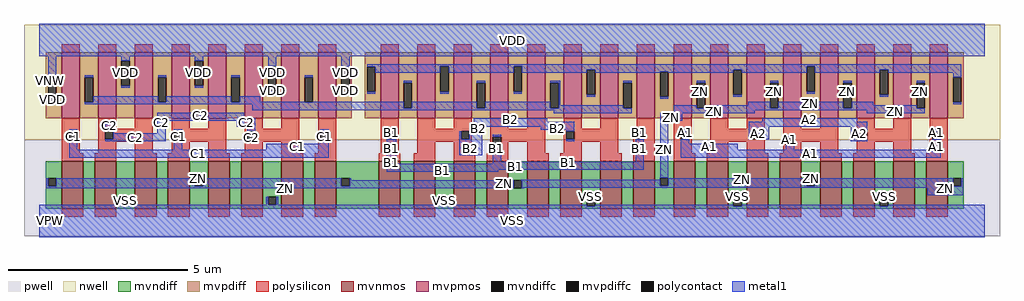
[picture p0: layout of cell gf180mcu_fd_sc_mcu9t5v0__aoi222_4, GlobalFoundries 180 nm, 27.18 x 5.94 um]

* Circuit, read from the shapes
.subckt gf180mcu_fd_sc_mcu9t5v0__aoi222_4 A1 A2 B1 B2 C1 C2 ZN VDD VNW VPW VSS
XM1 n1 C1 ZN VPW nfet_06v0 w=1.32u l=0.6u
XM2 VSS C2 n1 VPW nfet_06v0 w=1.32u l=0.6u
XM3 n2 C2 VSS VPW nfet_06v0 w=1.32u l=0.6u
XM4 ZN C1 n2 VPW nfet_06v0 w=1.32u l=0.6u
XM5 n3 C1 ZN VPW nfet_06v0 w=1.32u l=0.6u
XM6 VSS C2 n3 VPW nfet_06v0 w=1.32u l=0.6u
XM7 n4 C2 VSS VPW nfet_06v0 w=1.32u l=0.6u
XM8 ZN C1 n4 VPW nfet_06v0 w=1.32u l=0.6u
XM9 n5 B1 ZN VPW nfet_06v0 w=1.32u l=0.6u
XM10 VSS B2 n5 VPW nfet_06v0 w=1.32u l=0.6u
XM11 n6 B2 VSS VPW nfet_06v0 w=1.32u l=0.6u
XM12 ZN B1 n6 VPW nfet_06v0 w=1.32u l=0.6u
XM13 n7 B1 ZN VPW nfet_06v0 w=1.32u l=0.6u
XM14 VSS B2 n7 VPW nfet_06v0 w=1.32u l=0.6u
XM15 n8 B2 VSS VPW nfet_06v0 w=1.32u l=0.6u
XM16 ZN B1 n8 VPW nfet_06v0 w=1.32u l=0.6u
XM17 n9 A1 ZN VPW nfet_06v0 w=1.32u l=0.6u
XM18 VSS A2 n9 VPW nfet_06v0 w=1.32u l=0.6u
XM19 n10 A2 VSS VPW nfet_06v0 w=1.32u l=0.6u
XM20 ZN A1 n10 VPW nfet_06v0 w=1.32u l=0.6u
XM21 n11 A1 ZN VPW nfet_06v0 w=1.32u l=0.6u
XM22 VSS A2 n11 VPW nfet_06v0 w=1.32u l=0.6u
XM23 n12 A2 VSS VPW nfet_06v0 w=1.32u l=0.6u
XM24 ZN A1 n12 VPW nfet_06v0 w=1.32u l=0.6u
XM25 n13 C1 VDD VNW pfet_06v0 w=1.83u l=0.5u m=4
XM26 VDD C2 n13 VNW pfet_06v0 w=1.83u l=0.5u m=4
XM27 n13 B1 n14 VNW pfet_06v0 w=1.83u l=0.5u m=4
XM28 n14 B2 n13 VNW pfet_06v0 w=1.83u l=0.5u m=4
XM29 ZN A1 n14 VNW pfet_06v0 w=1.83u l=0.5u m=4
XM30 n14 A2 ZN VNW pfet_06v0 w=1.83u l=0.5u m=4
.ends

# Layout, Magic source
magic
tech gf180mcuD
magscale 1 10
<< nwell >>
rect -86 453 5350 1094
<< pwell >>
rect -86 -86 5350 453
<< mvnmos >>
rect 124 69 244 333
rect 308 69 428 333
rect 532 69 652 333
rect 716 69 836 333
rect 940 69 1060 333
rect 1124 69 1244 333
rect 1348 69 1468 333
rect 1532 69 1652 333
rect 1890 69 2010 333
rect 2084 69 2204 333
rect 2308 69 2428 333
rect 2492 69 2612 333
rect 2716 69 2836 333
rect 2900 69 3020 333
rect 3124 69 3244 333
rect 3308 69 3428 333
rect 3532 69 3652 333
rect 3716 69 3836 333
rect 3940 69 4060 333
rect 4124 69 4244 333
rect 4348 69 4468 333
rect 4532 69 4652 333
rect 4756 69 4876 333
rect 4940 69 5060 333
<< mvpmos >>
rect 124 573 224 939
rect 328 573 428 939
rect 532 573 632 939
rect 736 573 836 939
rect 940 573 1040 939
rect 1144 573 1244 939
rect 1348 573 1448 939
rect 1552 573 1652 939
rect 1900 573 2000 939
rect 2104 573 2204 939
rect 2308 573 2408 939
rect 2512 573 2612 939
rect 2716 573 2816 939
rect 2920 573 3020 939
rect 3124 573 3224 939
rect 3328 573 3428 939
rect 3532 573 3632 939
rect 3736 573 3836 939
rect 3940 573 4040 939
rect 4144 573 4244 939
rect 4348 573 4448 939
rect 4552 573 4652 939
rect 4756 573 4856 939
rect 4960 573 5060 939
<< mvndiff >>
rect 36 239 124 333
rect 36 193 49 239
rect 95 193 124 239
rect 36 69 124 193
rect 244 69 308 333
rect 428 136 532 333
rect 428 90 457 136
rect 503 90 532 136
rect 428 69 532 90
rect 652 69 716 333
rect 836 239 940 333
rect 836 193 865 239
rect 911 193 940 239
rect 836 69 940 193
rect 1060 69 1124 333
rect 1244 136 1348 333
rect 1244 90 1273 136
rect 1319 90 1348 136
rect 1244 69 1348 90
rect 1468 69 1532 333
rect 1652 239 1890 333
rect 1652 193 1681 239
rect 1727 193 1890 239
rect 1652 69 1890 193
rect 2010 69 2084 333
rect 2204 136 2308 333
rect 2204 90 2233 136
rect 2279 90 2308 136
rect 2204 69 2308 90
rect 2428 69 2492 333
rect 2612 228 2716 333
rect 2612 182 2641 228
rect 2687 182 2716 228
rect 2612 69 2716 182
rect 2836 69 2900 333
rect 3020 128 3124 333
rect 3020 82 3049 128
rect 3095 82 3124 128
rect 3020 69 3124 82
rect 3244 69 3308 333
rect 3428 242 3532 333
rect 3428 196 3457 242
rect 3503 196 3532 242
rect 3428 69 3532 196
rect 3652 69 3716 333
rect 3836 128 3940 333
rect 3836 82 3865 128
rect 3911 82 3940 128
rect 3836 69 3940 82
rect 4060 69 4124 333
rect 4244 239 4348 333
rect 4244 193 4273 239
rect 4319 193 4348 239
rect 4244 69 4348 193
rect 4468 69 4532 333
rect 4652 128 4756 333
rect 4652 82 4681 128
rect 4727 82 4756 128
rect 4652 69 4756 82
rect 4876 69 4940 333
rect 5060 239 5148 333
rect 5060 193 5089 239
rect 5135 193 5148 239
rect 5060 69 5148 193
<< mvpdiff >>
rect 36 800 124 939
rect 36 660 49 800
rect 95 660 124 800
rect 36 573 124 660
rect 224 800 328 939
rect 224 660 253 800
rect 299 660 328 800
rect 224 573 328 660
rect 428 892 532 939
rect 428 752 457 892
rect 503 752 532 892
rect 428 573 532 752
rect 632 800 736 939
rect 632 660 661 800
rect 707 660 736 800
rect 632 573 736 660
rect 836 892 940 939
rect 836 752 865 892
rect 911 752 940 892
rect 836 573 940 752
rect 1040 800 1144 939
rect 1040 660 1069 800
rect 1115 660 1144 800
rect 1040 573 1144 660
rect 1244 863 1348 939
rect 1244 723 1273 863
rect 1319 723 1348 863
rect 1244 573 1348 723
rect 1448 800 1552 939
rect 1448 660 1477 800
rect 1523 660 1552 800
rect 1448 573 1552 660
rect 1652 860 1740 939
rect 1652 720 1681 860
rect 1727 720 1740 860
rect 1652 573 1740 720
rect 1812 860 1900 939
rect 1812 720 1825 860
rect 1871 720 1900 860
rect 1812 573 1900 720
rect 2000 769 2104 939
rect 2000 629 2029 769
rect 2075 629 2104 769
rect 2000 573 2104 629
rect 2204 861 2308 939
rect 2204 721 2233 861
rect 2279 721 2308 861
rect 2204 573 2308 721
rect 2408 769 2512 939
rect 2408 629 2437 769
rect 2483 629 2512 769
rect 2408 573 2512 629
rect 2612 861 2716 939
rect 2612 721 2641 861
rect 2687 721 2716 861
rect 2612 573 2716 721
rect 2816 769 2920 939
rect 2816 629 2845 769
rect 2891 629 2920 769
rect 2816 573 2920 629
rect 3020 843 3124 939
rect 3020 703 3049 843
rect 3095 703 3124 843
rect 3020 573 3124 703
rect 3224 769 3328 939
rect 3224 629 3253 769
rect 3299 629 3328 769
rect 3224 573 3328 629
rect 3428 832 3532 939
rect 3428 692 3457 832
rect 3503 692 3532 832
rect 3428 573 3532 692
rect 3632 769 3736 939
rect 3632 629 3661 769
rect 3707 629 3736 769
rect 3632 573 3736 629
rect 3836 843 3940 939
rect 3836 703 3865 843
rect 3911 703 3940 843
rect 3836 573 3940 703
rect 4040 769 4144 939
rect 4040 629 4069 769
rect 4115 629 4144 769
rect 4040 573 4144 629
rect 4244 861 4348 939
rect 4244 721 4273 861
rect 4319 721 4348 861
rect 4244 573 4348 721
rect 4448 769 4552 939
rect 4448 629 4477 769
rect 4523 629 4552 769
rect 4448 573 4552 629
rect 4652 843 4756 939
rect 4652 703 4681 843
rect 4727 703 4756 843
rect 4652 573 4756 703
rect 4856 769 4960 939
rect 4856 629 4885 769
rect 4931 629 4960 769
rect 4856 573 4960 629
rect 5060 800 5148 939
rect 5060 660 5089 800
rect 5135 660 5148 800
rect 5060 573 5148 660
<< mvndiffc >>
rect 49 193 95 239
rect 457 90 503 136
rect 865 193 911 239
rect 1273 90 1319 136
rect 1681 193 1727 239
rect 2233 90 2279 136
rect 2641 182 2687 228
rect 3049 82 3095 128
rect 3457 196 3503 242
rect 3865 82 3911 128
rect 4273 193 4319 239
rect 4681 82 4727 128
rect 5089 193 5135 239
<< mvpdiffc >>
rect 49 660 95 800
rect 253 660 299 800
rect 457 752 503 892
rect 661 660 707 800
rect 865 752 911 892
rect 1069 660 1115 800
rect 1273 723 1319 863
rect 1477 660 1523 800
rect 1681 720 1727 860
rect 1825 720 1871 860
rect 2029 629 2075 769
rect 2233 721 2279 861
rect 2437 629 2483 769
rect 2641 721 2687 861
rect 2845 629 2891 769
rect 3049 703 3095 843
rect 3253 629 3299 769
rect 3457 692 3503 832
rect 3661 629 3707 769
rect 3865 703 3911 843
rect 4069 629 4115 769
rect 4273 721 4319 861
rect 4477 629 4523 769
rect 4681 703 4727 843
rect 4885 629 4931 769
rect 5089 660 5135 800
<< polysilicon >>
rect 124 939 224 983
rect 328 939 428 983
rect 532 939 632 983
rect 736 939 836 983
rect 940 939 1040 983
rect 1144 939 1244 983
rect 1348 939 1448 983
rect 1552 939 1652 983
rect 1900 939 2000 983
rect 2104 939 2204 983
rect 2308 939 2408 983
rect 2512 939 2612 983
rect 2716 939 2816 983
rect 2920 939 3020 983
rect 3124 939 3224 983
rect 3328 939 3428 983
rect 3532 939 3632 983
rect 3736 939 3836 983
rect 3940 939 4040 983
rect 4144 939 4244 983
rect 4348 939 4448 983
rect 4552 939 4652 983
rect 4756 939 4856 983
rect 4960 939 5060 983
rect 124 500 224 573
rect 124 454 165 500
rect 211 454 224 500
rect 124 377 224 454
rect 328 513 428 573
rect 532 513 632 573
rect 328 500 632 513
rect 328 454 366 500
rect 412 454 632 500
rect 328 441 632 454
rect 328 377 428 441
rect 124 333 244 377
rect 308 333 428 377
rect 532 377 632 441
rect 736 513 836 573
rect 940 513 1040 573
rect 736 500 1040 513
rect 736 454 749 500
rect 795 454 1040 500
rect 736 441 1040 454
rect 736 377 836 441
rect 532 333 652 377
rect 716 333 836 377
rect 940 377 1040 441
rect 1144 513 1244 573
rect 1348 513 1448 573
rect 1144 500 1448 513
rect 1144 454 1157 500
rect 1203 454 1448 500
rect 1144 441 1448 454
rect 1144 377 1244 441
rect 940 333 1060 377
rect 1124 333 1244 377
rect 1348 377 1448 441
rect 1552 500 1652 573
rect 1552 454 1565 500
rect 1611 454 1652 500
rect 1552 377 1652 454
rect 1900 500 2000 573
rect 1900 454 1940 500
rect 1986 454 2000 500
rect 1900 377 2000 454
rect 2104 513 2204 573
rect 2308 513 2408 573
rect 2104 500 2408 513
rect 2104 454 2349 500
rect 2395 454 2408 500
rect 2104 441 2408 454
rect 2104 377 2204 441
rect 1348 333 1468 377
rect 1532 333 1652 377
rect 1890 333 2010 377
rect 2084 333 2204 377
rect 2308 377 2408 441
rect 2512 513 2612 573
rect 2716 513 2816 573
rect 2512 469 2816 513
rect 2512 423 2525 469
rect 2571 441 2816 469
rect 2571 423 2612 441
rect 2512 377 2612 423
rect 2308 333 2428 377
rect 2492 333 2612 377
rect 2716 377 2816 441
rect 2920 513 3020 573
rect 3124 513 3224 573
rect 3328 513 3428 573
rect 2920 500 3224 513
rect 2920 454 2933 500
rect 2979 454 3224 500
rect 2920 441 3224 454
rect 2920 377 3020 441
rect 2716 333 2836 377
rect 2900 333 3020 377
rect 3124 377 3224 441
rect 3308 500 3428 513
rect 3308 454 3321 500
rect 3367 454 3428 500
rect 3124 333 3244 377
rect 3308 333 3428 454
rect 3532 500 3632 573
rect 3532 454 3573 500
rect 3619 454 3632 500
rect 3532 377 3632 454
rect 3736 513 3836 573
rect 3940 513 4040 573
rect 3736 500 4040 513
rect 3736 454 3961 500
rect 4007 454 4040 500
rect 3736 441 4040 454
rect 3736 377 3836 441
rect 3532 333 3652 377
rect 3716 333 3836 377
rect 3940 377 4040 441
rect 4144 513 4244 573
rect 4348 513 4448 573
rect 4144 469 4448 513
rect 4144 423 4157 469
rect 4203 441 4448 469
rect 4203 423 4244 441
rect 4144 377 4244 423
rect 3940 333 4060 377
rect 4124 333 4244 377
rect 4348 377 4448 441
rect 4552 513 4652 573
rect 4756 513 4856 573
rect 4552 500 4856 513
rect 4552 454 4565 500
rect 4611 454 4856 500
rect 4552 441 4856 454
rect 4552 377 4652 441
rect 4348 333 4468 377
rect 4532 333 4652 377
rect 4756 377 4856 441
rect 4960 500 5060 573
rect 4960 454 4973 500
rect 5019 454 5060 500
rect 4960 377 5060 454
rect 4756 333 4876 377
rect 4940 333 5060 377
rect 124 25 244 69
rect 308 25 428 69
rect 532 25 652 69
rect 716 25 836 69
rect 940 25 1060 69
rect 1124 25 1244 69
rect 1348 25 1468 69
rect 1532 25 1652 69
rect 1890 25 2010 69
rect 2084 25 2204 69
rect 2308 25 2428 69
rect 2492 25 2612 69
rect 2716 25 2836 69
rect 2900 25 3020 69
rect 3124 25 3244 69
rect 3308 25 3428 69
rect 3532 25 3652 69
rect 3716 25 3836 69
rect 3940 25 4060 69
rect 4124 25 4244 69
rect 4348 25 4468 69
rect 4532 25 4652 69
rect 4756 25 4876 69
rect 4940 25 5060 69
<< polycontact >>
rect 165 454 211 500
rect 366 454 412 500
rect 749 454 795 500
rect 1157 454 1203 500
rect 1565 454 1611 500
rect 1940 454 1986 500
rect 2349 454 2395 500
rect 2525 423 2571 469
rect 2933 454 2979 500
rect 3321 454 3367 500
rect 3573 454 3619 500
rect 3961 454 4007 500
rect 4157 423 4203 469
rect 4565 454 4611 500
rect 4973 454 5019 500
<< metal1 >>
rect 0 918 5264 1098
rect 49 800 95 918
rect 457 892 503 918
rect 49 649 95 660
rect 253 800 299 811
rect 865 892 911 918
rect 457 741 503 752
rect 661 800 707 811
rect 299 660 661 695
rect 1273 863 1319 918
rect 865 741 911 752
rect 1069 800 1115 811
rect 707 660 1069 695
rect 1681 860 1727 918
rect 1273 712 1319 723
rect 1477 800 1523 811
rect 1115 663 1230 695
rect 1115 660 1477 663
rect 1681 709 1727 720
rect 1825 861 5135 872
rect 1825 860 2233 861
rect 1871 826 2233 860
rect 1825 709 1871 720
rect 2029 769 2075 780
rect 1881 663 2029 664
rect 1523 660 2029 663
rect 253 649 2029 660
rect 1186 629 2029 649
rect 2279 826 2641 861
rect 2233 710 2279 721
rect 2437 769 2483 780
rect 2075 629 2437 664
rect 2687 843 4273 861
rect 2687 826 3049 843
rect 2641 710 2687 721
rect 2845 769 2902 780
rect 2483 629 2845 664
rect 2891 646 2902 769
rect 3095 832 3865 843
rect 3095 826 3457 832
rect 3049 692 3095 703
rect 3253 769 3299 780
rect 2891 629 3253 646
rect 3503 826 3865 832
rect 3457 681 3503 692
rect 3661 769 3707 780
rect 1186 618 3299 629
rect 1186 617 1891 618
rect 657 571 1142 603
rect 2865 600 3299 618
rect 3533 629 3661 646
rect 3911 826 4273 843
rect 3865 692 3911 703
rect 4069 769 4115 780
rect 3948 646 4069 664
rect 3707 629 4069 646
rect 4319 843 5135 861
rect 4319 826 4681 843
rect 4273 710 4319 721
rect 4477 769 4523 780
rect 4115 629 4477 664
rect 4727 826 5135 843
rect 5089 800 5135 826
rect 4681 692 4727 703
rect 4885 769 4931 780
rect 4523 646 4644 664
rect 4523 629 4885 646
rect 5089 649 5135 660
rect 3533 618 4931 629
rect 3533 603 3985 618
rect 3457 600 3985 603
rect 4607 600 4931 618
rect 657 557 1203 571
rect 165 500 211 511
rect 165 397 211 454
rect 366 500 418 542
rect 412 489 418 500
rect 657 489 703 557
rect 1098 525 1203 557
rect 412 454 703 489
rect 366 443 703 454
rect 749 500 795 511
rect 749 397 795 454
rect 1157 500 1203 525
rect 2420 554 2828 572
rect 3457 557 3579 600
rect 2420 526 2979 554
rect 1157 443 1203 454
rect 1565 500 1611 511
rect 1565 430 1611 454
rect 1262 397 1611 430
rect 165 351 1611 397
rect 1934 500 1986 511
rect 2420 500 2466 526
rect 2791 508 2979 526
rect 1934 454 1940 500
rect 1934 320 1986 454
rect 2338 454 2349 500
rect 2395 454 2466 500
rect 2933 500 2979 508
rect 2338 366 2466 454
rect 2525 469 2571 480
rect 2933 443 2979 454
rect 3321 500 3367 511
rect 2525 331 2571 423
rect 3321 331 3367 454
rect 2525 320 3367 331
rect 1934 285 3367 320
rect 1934 274 2555 285
rect 3457 242 3503 557
rect 4027 554 4556 572
rect 3950 526 4611 554
rect 3573 500 3619 511
rect 3950 500 4064 526
rect 3950 454 3961 500
rect 4007 454 4064 500
rect 4519 500 4611 526
rect 4157 469 4203 480
rect 3573 430 3619 454
rect 3573 397 3890 430
rect 4519 454 4565 500
rect 4519 443 4611 454
rect 4973 500 5019 511
rect 4157 397 4203 423
rect 4973 397 5019 454
rect 3573 351 5019 397
rect 38 193 49 239
rect 95 193 865 239
rect 911 193 1681 239
rect 1727 228 1738 239
rect 2681 228 3457 231
rect 1727 193 2641 228
rect 38 182 2641 193
rect 2687 196 3457 228
rect 3503 196 4273 239
rect 2687 193 4273 196
rect 4319 193 5089 239
rect 5135 193 5146 239
rect 2687 185 5146 193
rect 2687 182 2698 185
rect 4946 142 5146 185
rect 446 90 457 136
rect 503 90 514 136
rect 1262 90 1273 136
rect 1319 90 1330 136
rect 2222 90 2233 136
rect 2279 90 2290 136
rect 3049 128 3095 139
rect 0 82 3049 90
rect 3865 128 3911 139
rect 3095 82 3865 90
rect 4681 128 4727 139
rect 3911 82 4681 90
rect 4727 82 5264 90
rect 0 -90 5264 82
<< labels >>
flabel metal1 s 4973 480 5019 511 0 FreeSans 200 0 0 0 A1
port 1 nsew default input
flabel metal1 s 4027 554 4556 572 0 FreeSans 200 0 0 0 A2
port 2 nsew default input
flabel metal1 s 3321 480 3367 511 0 FreeSans 200 0 0 0 B1
port 3 nsew default input
flabel metal1 s 2420 554 2828 572 0 FreeSans 200 0 0 0 B2
port 4 nsew default input
flabel metal1 s 1565 430 1611 511 0 FreeSans 200 0 0 0 C1
port 5 nsew default input
flabel metal1 s 657 571 1142 603 0 FreeSans 200 0 0 0 C2
port 6 nsew default input
flabel metal1 s 0 918 5264 1098 0 FreeSans 200 0 0 0 VDD
port 8 nsew power bidirectional abutment
flabel metal1 s 4681 136 4727 139 0 FreeSans 200 0 0 0 VSS
port 11 nsew ground bidirectional abutment
flabel metal1 s 4885 664 4931 780 0 FreeSans 200 0 0 0 ZN
port 7 nsew default output
flabel nwell s 10 734 110 834 0 FreeSans 400 0 0 0 VNW
port 9 nsew power bidirectional
flabel pwell s 10 -50 110 50 0 FreeSans 400 0 0 0 VPW
port 10 nsew ground bidirectional
rlabel metal1 s 3573 480 3619 511 1 A1
port 1 nsew default input
rlabel metal1 s 4973 430 5019 480 1 A1
port 1 nsew default input
rlabel metal1 s 4157 430 4203 480 1 A1
port 1 nsew default input
rlabel metal1 s 3573 430 3619 480 1 A1
port 1 nsew default input
rlabel metal1 s 4973 397 5019 430 1 A1
port 1 nsew default input
rlabel metal1 s 4157 397 4203 430 1 A1
port 1 nsew default input
rlabel metal1 s 3573 397 3890 430 1 A1
port 1 nsew default input
rlabel metal1 s 3573 351 5019 397 1 A1
port 1 nsew default input
rlabel metal1 s 3950 526 4611 554 1 A2
port 2 nsew default input
rlabel metal1 s 4519 454 4611 526 1 A2
port 2 nsew default input
rlabel metal1 s 3950 454 4064 526 1 A2
port 2 nsew default input
rlabel metal1 s 4519 443 4611 454 1 A2
port 2 nsew default input
rlabel metal1 s 1934 480 1986 511 1 B1
port 3 nsew default input
rlabel metal1 s 3321 331 3367 480 1 B1
port 3 nsew default input
rlabel metal1 s 2525 331 2571 480 1 B1
port 3 nsew default input
rlabel metal1 s 1934 331 1986 480 1 B1
port 3 nsew default input
rlabel metal1 s 2525 320 3367 331 1 B1
port 3 nsew default input
rlabel metal1 s 1934 320 1986 331 1 B1
port 3 nsew default input
rlabel metal1 s 1934 285 3367 320 1 B1
port 3 nsew default input
rlabel metal1 s 1934 274 2555 285 1 B1
port 3 nsew default input
rlabel metal1 s 2420 526 2979 554 1 B2
port 4 nsew default input
rlabel metal1 s 2791 508 2979 526 1 B2
port 4 nsew default input
rlabel metal1 s 2420 508 2466 526 1 B2
port 4 nsew default input
rlabel metal1 s 2933 500 2979 508 1 B2
port 4 nsew default input
rlabel metal1 s 2420 500 2466 508 1 B2
port 4 nsew default input
rlabel metal1 s 2933 443 2979 500 1 B2
port 4 nsew default input
rlabel metal1 s 2338 443 2466 500 1 B2
port 4 nsew default input
rlabel metal1 s 2338 366 2466 443 1 B2
port 4 nsew default input
rlabel metal1 s 749 430 795 511 1 C1
port 5 nsew default input
rlabel metal1 s 165 430 211 511 1 C1
port 5 nsew default input
rlabel metal1 s 1262 397 1611 430 1 C1
port 5 nsew default input
rlabel metal1 s 749 397 795 430 1 C1
port 5 nsew default input
rlabel metal1 s 165 397 211 430 1 C1
port 5 nsew default input
rlabel metal1 s 165 351 1611 397 1 C1
port 5 nsew default input
rlabel metal1 s 657 557 1203 571 1 C2
port 6 nsew default input
rlabel metal1 s 1098 542 1203 557 1 C2
port 6 nsew default input
rlabel metal1 s 657 542 703 557 1 C2
port 6 nsew default input
rlabel metal1 s 1098 525 1203 542 1 C2
port 6 nsew default input
rlabel metal1 s 657 525 703 542 1 C2
port 6 nsew default input
rlabel metal1 s 366 525 418 542 1 C2
port 6 nsew default input
rlabel metal1 s 1157 489 1203 525 1 C2
port 6 nsew default input
rlabel metal1 s 657 489 703 525 1 C2
port 6 nsew default input
rlabel metal1 s 366 489 418 525 1 C2
port 6 nsew default input
rlabel metal1 s 1157 443 1203 489 1 C2
port 6 nsew default input
rlabel metal1 s 366 443 703 489 1 C2
port 6 nsew default input
rlabel metal1 s 4477 664 4523 780 1 ZN
port 7 nsew default output
rlabel metal1 s 4069 664 4115 780 1 ZN
port 7 nsew default output
rlabel metal1 s 3661 664 3707 780 1 ZN
port 7 nsew default output
rlabel metal1 s 4885 646 4931 664 1 ZN
port 7 nsew default output
rlabel metal1 s 3948 646 4644 664 1 ZN
port 7 nsew default output
rlabel metal1 s 3661 646 3707 664 1 ZN
port 7 nsew default output
rlabel metal1 s 3533 618 4931 646 1 ZN
port 7 nsew default output
rlabel metal1 s 4607 603 4931 618 1 ZN
port 7 nsew default output
rlabel metal1 s 3533 603 3985 618 1 ZN
port 7 nsew default output
rlabel metal1 s 4607 600 4931 603 1 ZN
port 7 nsew default output
rlabel metal1 s 3457 600 3985 603 1 ZN
port 7 nsew default output
rlabel metal1 s 3457 557 3579 600 1 ZN
port 7 nsew default output
rlabel metal1 s 3457 239 3503 557 1 ZN
port 7 nsew default output
rlabel metal1 s 3457 231 5146 239 1 ZN
port 7 nsew default output
rlabel metal1 s 38 231 1738 239 1 ZN
port 7 nsew default output
rlabel metal1 s 2681 228 5146 231 1 ZN
port 7 nsew default output
rlabel metal1 s 38 228 1738 231 1 ZN
port 7 nsew default output
rlabel metal1 s 38 185 5146 228 1 ZN
port 7 nsew default output
rlabel metal1 s 4946 182 5146 185 1 ZN
port 7 nsew default output
rlabel metal1 s 38 182 2698 185 1 ZN
port 7 nsew default output
rlabel metal1 s 4946 142 5146 182 1 ZN
port 7 nsew default output
rlabel metal1 s 1681 741 1727 918 1 VDD
port 8 nsew power bidirectional abutment
rlabel metal1 s 1273 741 1319 918 1 VDD
port 8 nsew power bidirectional abutment
rlabel metal1 s 865 741 911 918 1 VDD
port 8 nsew power bidirectional abutment
rlabel metal1 s 457 741 503 918 1 VDD
port 8 nsew power bidirectional abutment
rlabel metal1 s 49 741 95 918 1 VDD
port 8 nsew power bidirectional abutment
rlabel metal1 s 1681 712 1727 741 1 VDD
port 8 nsew power bidirectional abutment
rlabel metal1 s 1273 712 1319 741 1 VDD
port 8 nsew power bidirectional abutment
rlabel metal1 s 49 712 95 741 1 VDD
port 8 nsew power bidirectional abutment
rlabel metal1 s 1681 709 1727 712 1 VDD
port 8 nsew power bidirectional abutment
rlabel metal1 s 49 709 95 712 1 VDD
port 8 nsew power bidirectional abutment
rlabel metal1 s 49 649 95 709 1 VDD
port 8 nsew power bidirectional abutment
rlabel metal1 s 3865 136 3911 139 1 VSS
port 11 nsew ground bidirectional abutment
rlabel metal1 s 3049 136 3095 139 1 VSS
port 11 nsew ground bidirectional abutment
rlabel metal1 s 4681 90 4727 136 1 VSS
port 11 nsew ground bidirectional abutment
rlabel metal1 s 3865 90 3911 136 1 VSS
port 11 nsew ground bidirectional abutment
rlabel metal1 s 3049 90 3095 136 1 VSS
port 11 nsew ground bidirectional abutment
rlabel metal1 s 2222 90 2290 136 1 VSS
port 11 nsew ground bidirectional abutment
rlabel metal1 s 1262 90 1330 136 1 VSS
port 11 nsew ground bidirectional abutment
rlabel metal1 s 446 90 514 136 1 VSS
port 11 nsew ground bidirectional abutment
rlabel metal1 s 0 -90 5264 90 1 VSS
port 11 nsew ground bidirectional abutment
<< properties >>
string FIXED_BBOX 0 0 5264 1008
string GDS_END 1258708
string GDS_FILE $PDKPATH/libs.ref/gf180mcu_fd_sc_mcu9t5v0/gds/gf180mcu_fd_sc_mcu9t5v0.gds
string GDS_START 1247576
string LEFclass core
string LEFsite GF018hv5v_green_sc9
string LEFsymmetry X Y
<< end >>
